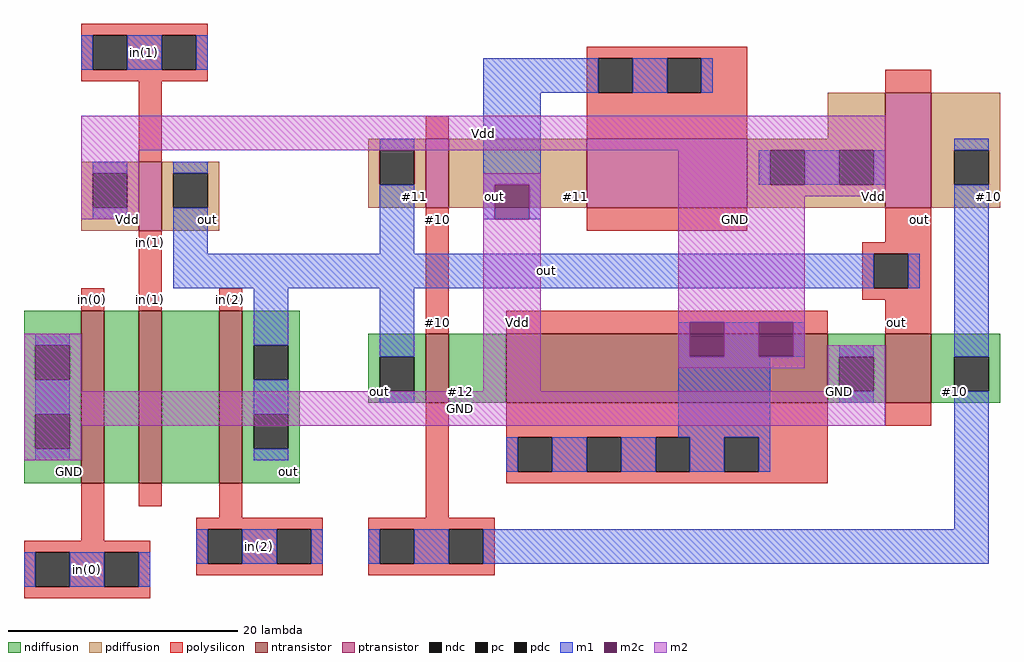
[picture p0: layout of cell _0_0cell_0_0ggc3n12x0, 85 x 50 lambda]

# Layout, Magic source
magic
tech sky130l
<< ndiffusion >>
rect 21 17 26 20
rect 21 14 22 17
rect 25 14 26 17
rect 21 11 26 14
rect 21 8 22 11
rect 25 8 26 11
rect 21 5 26 8
rect 28 5 31 20
rect 33 5 38 20
rect 40 17 45 20
rect 40 14 41 17
rect 44 14 45 17
rect 40 11 45 14
rect 51 16 56 18
rect 51 13 52 16
rect 55 13 56 16
rect 51 12 56 13
rect 58 12 63 18
rect 91 16 96 18
rect 91 13 92 16
rect 95 13 96 16
rect 91 12 96 13
rect 100 16 106 18
rect 100 13 102 16
rect 105 13 106 16
rect 100 12 106 13
rect 40 8 41 11
rect 44 8 45 11
rect 40 5 45 8
<< ndc >>
rect 22 14 25 17
rect 22 8 25 11
rect 41 14 44 17
rect 52 13 55 16
rect 92 13 95 16
rect 102 13 105 16
rect 41 8 44 11
<< ntransistor >>
rect 26 5 28 20
rect 31 5 33 20
rect 38 5 40 20
rect 56 12 58 18
rect 63 12 91 18
rect 96 12 100 18
<< pdiffusion >>
rect 91 35 96 39
rect 51 34 56 35
rect 26 32 31 33
rect 26 29 27 32
rect 30 29 31 32
rect 26 27 31 29
rect 33 32 38 33
rect 33 29 34 32
rect 37 29 38 32
rect 51 31 52 34
rect 55 31 56 34
rect 51 29 56 31
rect 58 29 70 35
rect 84 34 96 35
rect 84 31 86 34
rect 89 31 92 34
rect 95 31 96 34
rect 84 29 96 31
rect 100 34 106 39
rect 100 31 102 34
rect 105 31 106 34
rect 100 29 106 31
rect 33 27 38 29
<< pdc >>
rect 27 29 30 32
rect 34 29 37 32
rect 52 31 55 34
rect 86 31 89 34
rect 92 31 95 34
rect 102 31 105 34
<< ptransistor >>
rect 31 27 33 33
rect 56 29 58 35
rect 70 29 84 35
rect 96 29 100 39
<< polysilicon >>
rect 26 44 37 45
rect 26 41 27 44
rect 30 41 33 44
rect 36 41 37 44
rect 26 40 37 41
rect 70 42 84 43
rect 31 33 33 40
rect 70 39 71 42
rect 74 39 77 42
rect 80 39 84 42
rect 96 39 100 41
rect 56 35 58 37
rect 70 35 84 39
rect 26 20 28 22
rect 31 20 33 27
rect 38 20 40 22
rect 56 18 58 29
rect 70 27 84 29
rect 96 26 100 29
rect 94 25 100 26
rect 94 22 95 25
rect 98 22 100 25
rect 94 21 100 22
rect 63 18 91 20
rect 96 18 100 21
rect 26 0 28 5
rect 31 3 33 5
rect 38 2 40 5
rect 56 2 58 12
rect 63 9 91 12
rect 96 10 100 12
rect 63 6 64 9
rect 67 6 70 9
rect 73 6 76 9
rect 79 6 82 9
rect 85 6 91 9
rect 63 5 91 6
rect 36 1 47 2
rect 21 -1 32 0
rect 21 -4 22 -1
rect 25 -4 28 -1
rect 31 -4 32 -1
rect 36 -2 37 1
rect 40 -2 43 1
rect 46 -2 47 1
rect 36 -3 47 -2
rect 51 1 62 2
rect 51 -2 52 1
rect 55 -2 58 1
rect 61 -2 62 1
rect 51 -3 62 -2
rect 21 -5 32 -4
<< pc >>
rect 27 41 30 44
rect 33 41 36 44
rect 71 39 74 42
rect 77 39 80 42
rect 95 22 98 25
rect 64 6 67 9
rect 70 6 73 9
rect 76 6 79 9
rect 82 6 85 9
rect 22 -4 25 -1
rect 28 -4 31 -1
rect 37 -2 40 1
rect 43 -2 46 1
rect 52 -2 55 1
rect 58 -2 61 1
<< m1 >>
rect 26 41 27 44
rect 30 41 33 44
rect 36 41 37 44
rect 61 39 71 42
rect 74 39 77 42
rect 80 39 81 42
rect 52 34 55 35
rect 27 32 30 33
rect 27 28 30 29
rect 34 32 37 33
rect 34 25 37 29
rect 52 25 55 31
rect 61 31 66 39
rect 102 34 105 35
rect 85 31 86 34
rect 89 31 92 34
rect 95 31 96 34
rect 61 28 62 31
rect 65 28 66 31
rect 34 22 95 25
rect 98 22 99 25
rect 22 17 25 18
rect 22 11 25 14
rect 22 7 25 8
rect 41 17 44 22
rect 41 11 44 14
rect 52 16 55 22
rect 52 12 55 13
rect 78 16 79 19
rect 82 16 85 19
rect 88 16 89 19
rect 92 16 95 17
rect 78 9 86 16
rect 92 12 95 13
rect 102 16 105 31
rect 41 7 44 8
rect 63 6 64 9
rect 67 6 70 9
rect 73 6 76 9
rect 79 6 82 9
rect 85 6 86 9
rect 102 1 105 13
rect 21 -4 22 -1
rect 25 -4 28 -1
rect 31 -4 32 -1
rect 36 -2 37 1
rect 40 -2 43 1
rect 46 -2 47 1
rect 51 -2 52 1
rect 55 -2 58 1
rect 61 -2 105 1
<< m2c >>
rect 62 28 65 31
rect 79 16 82 19
rect 85 16 88 19
<< m2 >>
rect 26 34 96 37
rect 26 28 31 34
rect 61 31 66 32
rect 61 28 62 31
rect 65 28 66 31
rect 21 13 26 18
rect 61 13 66 28
rect 78 30 96 34
rect 78 19 89 30
rect 78 16 79 19
rect 82 16 85 19
rect 88 16 89 19
rect 78 15 89 16
rect 91 13 96 17
rect 21 10 96 13
rect 21 7 26 10
<< labels >>
rlabel ndiffusion 25 6 25 6 7 GND
rlabel polysilicon 27 21 27 21 7 in(0)
rlabel pdiffusion 30 28 30 28 7 Vdd
rlabel polysilicon 32 21 32 21 7 in(1)
rlabel polysilicon 32 26 32 26 7 in(1)
rlabel pdiffusion 37 28 37 28 7 out
rlabel polysilicon 39 21 39 21 7 in(2)
rlabel ndiffusion 44 6 44 6 7 out
rlabel ndiffusion 102 13 102 13 3 #10
rlabel pdiffusion 105 30 105 30 7 #10
rlabel polysilicon 97 19 97 19 3 out
rlabel ndiffusion 92 13 92 13 3 GND
rlabel polysilicon 64 19 64 19 3 Vdd
rlabel ndiffusion 59 13 59 13 3 #12
rlabel polysilicon 57 19 57 19 3 #10
rlabel ndiffusion 52 13 52 13 3 out
rlabel polysilicon 83 28 83 28 7 GND
rlabel pdiffusion 69 30 69 30 7 #11
rlabel pdiffusion 62 30 62 30 7 out
rlabel polysilicon 57 28 57 28 7 #10
rlabel pdiffusion 55 30 55 30 7 #11
rlabel polysilicon 99 28 99 28 7 out
rlabel pdiffusion 95 30 95 30 7 Vdd
flabel m2 26 34 96 37 0 FreeSans 11 0 0 0 Vdd
port 1 nsew
flabel m2 22 10 96 13 0 FreeSans 11 0 0 0 GND
flabel m1 21 -4 32 -1 0 FreeSans 11 0 0 0 in(0)
port 3 nsew
flabel m1 26 41 37 44 0 FreeSans 11 0 0 0 in(1)
port 4 nsew
flabel m1 36 -2 47 1 0 FreeSans 11 0 0 0 in(2)
port 5 nsew
flabel m1 34 22 99 25 0 FreeSans 11 0 0 0 out
port 6 nsew
<< end >>
